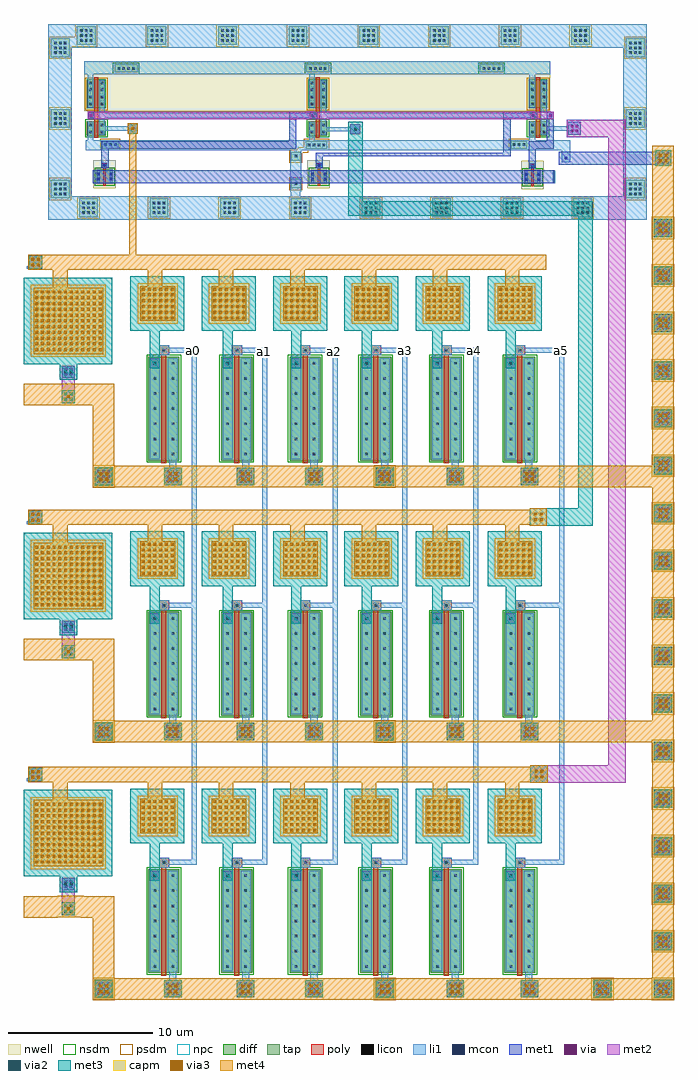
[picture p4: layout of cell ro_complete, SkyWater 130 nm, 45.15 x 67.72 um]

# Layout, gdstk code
import gdstk
lib = gdstk.Library(unit=1e-6, precision=1e-09)
def R(c, l, rs):  # rectangles x0, y0, x1, y1
    for r in rs: c.add(gdstk.rectangle(r[:2], r[2:], *l))
def A(c, l, x, y, w, h, nx, ny, dx, dy):  # array of equal rectangles
    R(c, l, [(x+i*dx, y+j*dy, x+i*dx+w, y+j*dy+h) for i in range(nx) for j in range(ny)])
nwell = (64, 20)
diff = (65, 20)
tap = (65, 44)
poly = (66, 20)
licon = (66, 44)
li1 = (67, 20)
mcon = (67, 44)
met1 = (68, 20)
via = (68, 44)
met2 = (69, 20)
via2 = (69, 44)
met3 = (70, 20)
via3 = (70, 44)
met4 = (71, 20)
capm = (89, 44)
nsdm = (93, 44)
psdm = (94, 20)
npc = (95, 20)

switch = lib.new_cell('switch')
R(switch, diff, [(-0.95,0,1.2,7.2)])
R(switch, poly, [(-0.05,-0.2,0.3,7.3), (-0.2,7.3,0.5,8)])
A(switch, licon, -0.585, 0.365, 0.17, 0.17, 1, 7, 0, 1.05)
A(switch, licon, 0.665, 0.365, 0.17, 0.17, 1, 7, 0, 1.05)
R(switch, licon, [(0.065,7.565,0.235,7.735)])
R(switch, li1, [(-0.85,0.1,-0.15,7.1), (0.4,0.1,1.1,7.1), (-0.2,7.3,0.5,8)])
R(switch, nsdm, [(-1.075,-0.125,1.325,7.325)])
R(switch, npc, [(-0.035,7.465,0.335,7.835)])
switch.add(gdstk.Label('vcont', (0.1,7.95), layer=67, texttype=5))
switch.add(gdstk.Label('vin', (-0.75,7.05), layer=67, texttype=5))
switch.add(gdstk.Label('vout', (1.05,7.05), layer=67, texttype=5))

cbank = lib.new_cell('cbank')
A(cbank, diff, 18.4, -0.15, 0.7, 0.7, 3, 1, 4.9, 0)
R(cbank, diff, [(8.6,-0.15,9.3,0.55), (13.65,-0.15,14.35,0.55), (33.3,-0.15,34,0.55)])
R(cbank, tap, [(4.75,-8.3,6.05,-7), (24.25,-8.3,25.55,-7)])
A(cbank, licon, 4.975, -8.075, 0.17, 0.17, 3, 3, 0.34, 0.34)
A(cbank, licon, 24.475, -8.075, 0.17, 0.17, 3, 3, 0.34, 0.34)
A(cbank, licon, 18.665, 0.125, 0.17, 0.17, 3, 1, 4.9, 0)
R(cbank, licon, [(13.915,0.125,14.085,0.295), (33.565,0.125,33.735,0.295)])
A(cbank, li1, 19.4, -8.25, 1.2, 1.2, 3, 1, 4.9, 0)
A(cbank, li1, 19.75, -7.05, 0.5, 0.65, 3, 1, 4.9, 0)
A(cbank, li1, 18.4, -0.15, 0.7, 0.7, 3, 1, 4.9, 0)
A(cbank, li1, 19.75, 0.95, 0.05, 0.35, 3, 1, 4.9, 0)
R(cbank, li1, [(4.8,-8.25,6,-7.05), (9.6,-8.25,10.8,-7.05), (14.65,-8.25,15.85,-7.05), (34.35,-8.25,35.55,-7.05), (9.95,-7.05,10.45,-6.35), (15,-7.05,15.5,-6.4), (34.65,-7.05,35.15,-6.4), (2.5,-0.8,3.4,0.05), (8.6,-0.15,9.3,0.55), (13.65,-0.15,14.35,0.55), (33.3,-0.15,34,0.55), (9.95,0.95,10,1.3), (15,0.95,15.05,1.3), (34.65,0.95,34.7,1.3), (0.05,6.75,1.15,6.95), (0.2,6.95,1.15,7.7)])
A(cbank, mcon, 4.955, -8.095, 0.17, 0.17, 3, 3, 0.36, 0.36)
A(cbank, mcon, 9.755, -8.095, 0.17, 0.17, 3, 3, 0.36, 0.36)
A(cbank, mcon, 14.805, -8.095, 0.17, 0.17, 3, 3, 0.36, 0.36)
A(cbank, mcon, 19.555, -8.095, 0.17, 0.17, 3, 3, 0.36, 0.36)
A(cbank, mcon, 24.455, -8.095, 0.17, 0.17, 3, 3, 0.36, 0.36)
A(cbank, mcon, 29.355, -8.095, 0.17, 0.17, 3, 3, 0.36, 0.36)
A(cbank, mcon, 34.505, -8.095, 0.17, 0.17, 3, 3, 0.36, 0.36)
A(cbank, mcon, 18.665, 0.115, 0.17, 0.17, 3, 1, 4.9, 0)
R(cbank, mcon, [(2.685,-0.64,2.855,-0.47), (3.045,-0.64,3.215,-0.47), (2.685,-0.28,2.855,-0.11), (3.045,-0.28,3.215,-0.11), (8.865,0.115,9.035,0.285), (13.915,0.115,14.085,0.285), (33.565,0.115,33.735,0.285), (0.41,6.96,0.58,7.13), (0.77,6.96,0.94,7.13), (0.41,7.32,0.58,7.49), (0.77,7.32,0.94,7.49)])
A(cbank, met1, 19.4, -8.25, 1.2, 1.2, 3, 1, 4.9, 0)
A(cbank, met1, 18.4, -0.15, 0.7, 0.7, 3, 1, 4.9, 0)
R(cbank, met1, [(4.8,-8.25,6,-7.05), (9.6,-8.25,10.8,-7.05), (14.65,-8.25,15.85,-7.05), (34.35,-8.25,35.55,-7.05), (2.5,-0.8,3.4,0.05), (8.6,-0.15,9.3,0.55), (13.65,-0.15,14.35,0.55), (33.3,-0.15,34,0.55), (0.2,6.75,1.15,7.7)])
A(cbank, via, 5.005, -8.045, 0.15, 0.15, 3, 3, 0.32, 0.32)
A(cbank, via, 9.805, -8.045, 0.15, 0.15, 3, 3, 0.32, 0.32)
A(cbank, via, 14.855, -8.045, 0.15, 0.15, 3, 3, 0.32, 0.32)
A(cbank, via, 19.605, -8.045, 0.15, 0.15, 3, 3, 0.32, 0.32)
A(cbank, via, 24.505, -8.045, 0.15, 0.15, 3, 3, 0.32, 0.32)
A(cbank, via, 29.405, -8.045, 0.15, 0.15, 3, 3, 0.32, 0.32)
A(cbank, via, 34.555, -8.045, 0.15, 0.15, 3, 3, 0.32, 0.32)
A(cbank, via, 18.675, 0.125, 0.15, 0.15, 3, 1, 4.9, 0)
R(cbank, via, [(2.715,-0.61,2.865,-0.46), (3.035,-0.61,3.185,-0.46), (2.715,-0.29,2.865,-0.14), (3.035,-0.29,3.185,-0.14), (8.875,0.125,9.025,0.275), (13.925,0.125,14.075,0.275), (33.575,0.125,33.725,0.275), (0.44,6.99,0.59,7.14), (0.76,6.99,0.91,7.14), (0.44,7.31,0.59,7.46), (0.76,7.31,0.91,7.46)])
A(cbank, met2, 19.4, -8.25, 1.2, 1.2, 3, 1, 4.9, 0)
A(cbank, met2, 18.4, -0.15, 0.7, 0.7, 3, 1, 4.9, 0)
R(cbank, met2, [(4.8,-8.25,6,-7.05), (9.6,-8.25,10.8,-7.05), (14.65,-8.25,15.85,-7.05), (34.35,-8.25,35.55,-7.05), (2.5,-2.55,3.4,0.05), (8.6,-0.15,9.3,0.55), (13.65,-0.15,14.35,0.55), (33.3,-0.15,34,0.55), (0.2,6.75,1.15,7.7)])
A(cbank, via2, 18.65, 0.1, 0.2, 0.2, 3, 1, 4.9, 0)
R(cbank, via2, [(5.1,-7.95,5.3,-7.75), (5.5,-7.95,5.7,-7.75), (9.9,-7.95,10.1,-7.75), (10.3,-7.95,10.5,-7.75), (14.95,-7.95,15.15,-7.75), (15.35,-7.95,15.55,-7.75), (19.7,-7.95,19.9,-7.75), (20.1,-7.95,20.3,-7.75), (24.6,-7.95,24.8,-7.75), (25,-7.95,25.2,-7.75), (29.5,-7.95,29.7,-7.75), (29.9,-7.95,30.1,-7.75), (34.65,-7.95,34.85,-7.75), (35.05,-7.95,35.25,-7.75), (5.1,-7.55,5.3,-7.35), (5.5,-7.55,5.7,-7.35), (9.9,-7.55,10.1,-7.35), (10.3,-7.55,10.5,-7.35), (14.95,-7.55,15.15,-7.35), (15.35,-7.55,15.55,-7.35), (19.7,-7.55,19.9,-7.35), (20.1,-7.55,20.3,-7.35), (24.6,-7.55,24.8,-7.35), (25,-7.55,25.2,-7.35), (29.5,-7.55,29.7,-7.35), (29.9,-7.55,30.1,-7.35), (34.65,-7.55,34.85,-7.35), (35.05,-7.55,35.25,-7.35), (2.65,-2.4,2.85,-2.2), (3.05,-2.4,3.25,-2.2), (2.65,-2,2.85,-1.8), (3.05,-2,3.25,-1.8), (2.65,-0.475,2.85,-0.275), (3.05,-0.475,3.25,-0.275), (8.85,0.1,9.05,0.3), (13.9,0.1,14.1,0.3), (33.55,0.1,33.75,0.3), (0.375,6.925,0.575,7.125), (0.775,6.925,0.975,7.125), (0.375,7.325,0.575,7.525), (0.775,7.325,0.975,7.525)])
A(cbank, met3, 19.4, -8.25, 1.2, 1.2, 3, 1, 4.9, 0)
A(cbank, met3, 18.4, -0.15, 0.7, 2.6, 3, 1, 4.9, 0)
A(cbank, met3, 7.25, 2.45, 3.75, 3.8, 5, 1, 4.95, 0)
R(cbank, met3, [(4.8,-8.25,6,-7.05), (9.6,-8.25,10.8,-7.05), (14.65,-8.25,15.85,-7.05), (34.35,-8.25,35.55,-7.05), (2.5,-2.55,3.4,-1.65), (2.35,-0.95,3.55,0.15), (8.6,-0.15,9.3,2.45), (13.65,-0.15,14.35,2.45), (33.3,-0.15,34,2.45), (-0.15,0.15,6,6.15), (32.05,2.45,35.8,6.25), (0.2,6.75,1.15,7.7)])
A(cbank, via3, 0.65, 1.05, 0.2, 0.2, 12, 11, 0.4, 0.4)
A(cbank, via3, 8.05, 3.25, 0.2, 0.2, 6, 6, 0.4, 0.4)
A(cbank, via3, 13, 3.25, 0.2, 0.2, 6, 6, 0.4, 0.4)
A(cbank, via3, 17.95, 3.25, 0.2, 0.2, 6, 6, 0.4, 0.4)
A(cbank, via3, 22.9, 3.25, 0.2, 0.2, 6, 6, 0.4, 0.4)
A(cbank, via3, 27.85, 3.25, 0.2, 0.2, 6, 6, 0.4, 0.4)
A(cbank, via3, 32.85, 3.25, 0.2, 0.2, 6, 6, 0.4, 0.4)
R(cbank, via3, [(5.1,-7.95,5.3,-7.75), (5.5,-7.95,5.7,-7.75), (9.9,-7.95,10.1,-7.75), (10.3,-7.95,10.5,-7.75), (14.95,-7.95,15.15,-7.75), (15.35,-7.95,15.55,-7.75), (19.7,-7.95,19.9,-7.75), (20.1,-7.95,20.3,-7.75), (24.6,-7.95,24.8,-7.75), (25,-7.95,25.2,-7.75), (29.5,-7.95,29.7,-7.75), (29.9,-7.95,30.1,-7.75), (34.65,-7.95,34.85,-7.75), (35.05,-7.95,35.25,-7.75), (5.1,-7.55,5.3,-7.35), (5.5,-7.55,5.7,-7.35), (9.9,-7.55,10.1,-7.35), (10.3,-7.55,10.5,-7.35), (14.95,-7.55,15.15,-7.35), (15.35,-7.55,15.55,-7.35), (19.7,-7.55,19.9,-7.35), (20.1,-7.55,20.3,-7.35), (24.6,-7.55,24.8,-7.35), (25,-7.55,25.2,-7.35), (29.5,-7.55,29.7,-7.35), (29.9,-7.55,30.1,-7.35), (34.65,-7.55,34.85,-7.35), (35.05,-7.55,35.25,-7.35), (2.85,-2.2,3.05,-2), (0.375,6.925,0.575,7.125), (0.775,6.925,0.975,7.125), (0.375,7.325,0.575,7.525), (0.775,7.325,0.975,7.525)])
A(cbank, met4, 7.945, 3.145, 2.41, 2.41, 5, 1, 4.95, 0)
A(cbank, met4, 8.45, 5.555, 1, 1.145, 5, 1, 4.95, 0)
R(cbank, met4, [(4.65,-8.4,40.75,-6.9), (4.65,-6.9,6.15,-2.71), (-0.15,-2.71,2.2,-2.7), (3.8,-2.71,6.15,-2.7), (-0.15,-2.7,6.15,-1.21), (2.2,-1.21,4,-1.2), (0.545,0.845,5.355,5.455), (32.745,3.145,35.155,5.555), (1.85,5.455,2.9,6.7), (33.25,5.555,34.25,6.7), (0.15,6.7,36.1,7.75)])
A(cbank, capm, 7.75, 2.95, 2.8, 2.8, 5, 1, 4.95, 0)
R(cbank, capm, [(0.35,0.65,5.55,5.65), (32.55,2.95,35.35,5.75)])
A(cbank, nsdm, 18.275, -0.275, 0.95, 0.95, 3, 1, 4.9, 0)
R(cbank, nsdm, [(8.475,-0.275,9.425,0.675), (13.525,-0.275,14.475,0.675), (33.175,-0.275,34.125,0.675)])
R(cbank, psdm, [(4.625,-8.425,6.175,-6.875), (24.125,-8.425,25.675,-6.875)])
cbank.add(gdstk.Reference(switch, (9.45,-6.54)))
cbank.add(gdstk.Reference(switch, (14.5,-6.54)))
cbank.add(gdstk.Reference(switch, (19.25,-6.54)))
cbank.add(gdstk.Reference(switch, (24.15,-6.54)))
cbank.add(gdstk.Reference(switch, (29.05,-6.54)))
cbank.add(gdstk.Reference(switch, (34.15,-6.54)))
cbank.add(gdstk.Label('v', (0.1,6.8), layer=67, texttype=5))
cbank.add(gdstk.Label('a0', (10,1.1), layer=67, texttype=5))
cbank.add(gdstk.Label('a1', (15.05,1.1), layer=67, texttype=5))
cbank.add(gdstk.Label('a2', (19.8,1.05), layer=67, texttype=5))
cbank.add(gdstk.Label('gnd!', (24.752,-6.85), layer=67, texttype=5))
cbank.add(gdstk.Label('a3', (24.7,1.05), layer=67, texttype=5))
cbank.add(gdstk.Label('a4', (29.6,1), layer=67, texttype=5))
cbank.add(gdstk.Label('a5', (34.7,1), layer=67, texttype=5))

ro_var_extend = lib.new_cell('ro_var_extend')
R(ro_var_extend, nwell, [(29.1,-3.8,30.65,-1.85), (14.29,-3.76,15.8,-3.75), (-0.6,-3.75,0.95,-1.8), (14.25,-3.75,15.8,-1.8), (-1.25,1.6,31.1,5.05)])
R(ro_var_extend, diff, [(-1.05,-0.1,0.25,0.9), (14.32,-0.1,15.62,0.9), (29.6,-0.1,30.9,0.9), (-1.05,1.8,0.25,3.8), (14.32,1.8,15.62,3.8), (29.6,1.8,30.9,3.8)])
A(ro_var_extend, tap, -1.6, -5.75, 1.3, 1.3, 8, 1, 4.9, 0)
A(ro_var_extend, tap, -3.55, -4.45, 1.3, 1.3, 1, 3, 0, 4.9)
A(ro_var_extend, tap, 36.35, -4.45, 1.3, 1.3, 1, 3, 0, 4.9)
A(ro_var_extend, tap, -1.75, 6.2, 1.3, 1.3, 8, 1, 4.9, 0)
R(ro_var_extend, tap, [(13.12,-3.75,13.77,-3.1), (29.29,-3.47,30.44,-2.47), (14.47,-3.45,15.62,-2.45), (-0.4,-3.44,0.75,-2.44), (13.12,-1.85,13.77,-1.2), (0,-1,1.15,-0.45), (14.12,-1,15.62,-0.45), (28.35,-1,29.5,-0.45), (0.87,4.3,2.47,4.85), (14.17,4.3,15.77,4.85), (26.22,4.3,27.82,4.85)])
R(ro_var_extend, poly, [(29.775,-3.6,29.955,-2.36), (14.955,-3.58,15.135,-2.34), (0.085,-3.57,0.265,-2.33), (29.7,-2.36,30.03,-2.03), (14.88,-2.34,15.21,-2.01), (0.01,-2.33,0.34,-2), (-0.55,-0.25,-0.25,1.1), (14.82,-0.25,15.12,1.1), (30.1,-0.25,30.4,1.1), (-0.95,1.1,-0.25,1.5), (14.42,1.1,15.12,1.5), (29.7,1.1,30.4,1.5), (-0.55,1.5,-0.25,3.95), (14.82,1.5,15.12,3.95), (30.1,1.5,30.4,3.95)])
A(ro_var_extend, licon, -1.375, -5.525, 0.17, 0.17, 3, 3, 0.34, 0.34)
A(ro_var_extend, licon, 3.525, -5.525, 0.17, 0.17, 3, 3, 0.34, 0.34)
A(ro_var_extend, licon, 8.425, -5.525, 0.17, 0.17, 3, 3, 0.34, 0.34)
A(ro_var_extend, licon, 13.325, -5.525, 0.17, 0.17, 3, 3, 0.34, 0.34)
A(ro_var_extend, licon, 18.225, -5.525, 0.17, 0.17, 3, 3, 0.34, 0.34)
A(ro_var_extend, licon, 23.125, -5.525, 0.17, 0.17, 3, 3, 0.34, 0.34)
A(ro_var_extend, licon, 28.025, -5.525, 0.17, 0.17, 3, 3, 0.34, 0.34)
A(ro_var_extend, licon, 32.925, -5.525, 0.17, 0.17, 3, 3, 0.34, 0.34)
A(ro_var_extend, licon, -3.325, -4.225, 0.17, 0.17, 3, 3, 0.34, 0.34)
A(ro_var_extend, licon, 36.575, -4.225, 0.17, 0.17, 3, 3, 0.34, 0.34)
A(ro_var_extend, licon, 14.275, -0.835, 0.17, 0.17, 4, 1, 0.34, 0)
A(ro_var_extend, licon, 0.15, -0.81, 0.17, 0.17, 3, 1, 0.34, 0)
A(ro_var_extend, licon, 28.5, -0.81, 0.17, 0.17, 3, 1, 0.34, 0)
A(ro_var_extend, licon, -3.325, 0.675, 0.17, 0.17, 3, 3, 0.34, 0.34)
A(ro_var_extend, licon, 36.575, 0.675, 0.17, 0.17, 3, 3, 0.34, 0.34)
A(ro_var_extend, licon, -0.885, 2.015, 0.17, 0.17, 1, 3, 0, 0.5)
A(ro_var_extend, licon, -0.085, 2.015, 0.17, 0.17, 1, 3, 0, 0.5)
A(ro_var_extend, licon, 14.475, 2.015, 0.17, 0.17, 1, 3, 0, 0.5)
A(ro_var_extend, licon, 15.275, 2.015, 0.17, 0.17, 1, 3, 0, 0.5)
A(ro_var_extend, licon, 29.775, 2.015, 0.17, 0.17, 1, 3, 0, 0.5)
A(ro_var_extend, licon, 30.575, 2.015, 0.17, 0.17, 1, 3, 0, 0.5)
A(ro_var_extend, licon, 1.075, 4.49, 0.17, 0.17, 4, 1, 0.34, 0)
A(ro_var_extend, licon, 14.375, 4.49, 0.17, 0.17, 4, 1, 0.34, 0)
A(ro_var_extend, licon, 26.425, 4.49, 0.17, 0.17, 4, 1, 0.34, 0)
A(ro_var_extend, licon, -3.325, 5.575, 0.17, 0.17, 3, 3, 0.34, 0.34)
A(ro_var_extend, licon, 36.575, 5.575, 0.17, 0.17, 3, 3, 0.34, 0.34)
A(ro_var_extend, licon, -1.525, 6.425, 0.17, 0.17, 3, 3, 0.34, 0.34)
A(ro_var_extend, licon, 3.375, 6.425, 0.17, 0.17, 3, 3, 0.34, 0.34)
A(ro_var_extend, licon, 8.275, 6.425, 0.17, 0.17, 3, 3, 0.34, 0.34)
A(ro_var_extend, licon, 13.175, 6.425, 0.17, 0.17, 3, 3, 0.34, 0.34)
A(ro_var_extend, licon, 18.075, 6.425, 0.17, 0.17, 3, 3, 0.34, 0.34)
A(ro_var_extend, licon, 22.975, 6.425, 0.17, 0.17, 3, 3, 0.34, 0.34)
A(ro_var_extend, licon, 27.875, 6.425, 0.17, 0.17, 3, 3, 0.34, 0.34)
A(ro_var_extend, licon, 32.775, 6.425, 0.17, 0.17, 3, 3, 0.34, 0.34)
R(ro_var_extend, licon, [(13.36,-3.51,13.53,-3.34), (29.35,-3.225,29.52,-3.055), (30.21,-3.225,30.38,-3.055), (14.53,-3.205,14.7,-3.035), (15.39,-3.205,15.56,-3.035), (-0.34,-3.195,-0.17,-3.025), (0.52,-3.195,0.69,-3.025), (29.35,-2.885,29.52,-2.715), (30.21,-2.885,30.38,-2.715), (14.53,-2.865,14.7,-2.695), (15.39,-2.865,15.56,-2.695), (-0.34,-2.855,-0.17,-2.685), (0.52,-2.855,0.69,-2.685), (29.78,-2.28,29.95,-2.11), (14.96,-2.26,15.13,-2.09), (0.09,-2.25,0.26,-2.08), (13.36,-1.61,13.53,-1.44), (-0.885,0.065,-0.715,0.235), (-0.085,0.065,0.085,0.235), (14.475,0.065,14.645,0.235), (15.275,0.065,15.445,0.235), (29.775,0.065,29.945,0.235), (30.575,0.065,30.745,0.235), (-0.885,0.565,-0.715,0.735), (-0.085,0.565,0.085,0.735), (14.475,0.565,14.645,0.735), (15.275,0.565,15.445,0.735), (29.775,0.565,29.945,0.735), (30.575,0.565,30.745,0.735), (-0.835,1.215,-0.665,1.385), (14.535,1.215,14.705,1.385), (29.815,1.215,29.985,1.385), (-0.885,3.465,-0.715,3.635), (-0.085,3.465,0.085,3.635), (14.475,3.465,14.645,3.635), (15.275,3.465,15.445,3.635), (29.775,3.465,29.945,3.635), (30.575,3.465,30.745,3.635)])
R(ro_var_extend, li1, [(-3.75,-5.95,37.8,-4.3), (-3.75,-4.3,-2.1,6), (13.1,-4.3,13.75,-4), (36.15,-4.3,37.8,6), (13.07,-4,13.82,-1.1), (29.35,-3.43,29.52,-2.51), (30.21,-3.43,30.38,-2.51), (14.53,-3.41,14.7,-2.49), (15.39,-3.41,15.56,-2.49), (-0.34,-3.4,-0.17,-2.48), (0.52,-3.4,0.69,-2.48), (31.28,-3.4,31.45,-2.55), (29.7,-2.28,30.03,-2.11), (14.88,-2.26,15.21,-2.09), (0.01,-2.25,0.34,-2.08), (-1.15,-1.1,31.1,-0.4), (-1,-0.4,-0.6,0.85), (14.37,-0.4,14.77,-0.05), (29.65,-0.4,30.05,-0.05), (-0.2,-0.05,0.2,1.15), (14.36,-0.05,14.77,0.85), (15.16,-0.05,15.57,0.85), (29.65,-0.05,30.06,0.85), (30.45,-0.05,30.86,0.85), (15.17,0.85,15.57,1.15), (30.45,0.85,30.85,1.05), (30.45,1.05,30.95,1.15), (-0.95,1.1,-0.55,1.5), (14.42,1.1,14.82,1.15), (29.7,1.1,30.1,1.15), (-0.2,1.15,14.82,1.45), (15.17,1.15,30.1,1.45), (30.45,1.15,31.25,1.45), (-0.2,1.45,0.2,3.75), (14.42,1.45,14.82,1.5), (15.17,1.45,15.57,1.85), (29.7,1.45,30.1,1.5), (30.45,1.45,30.95,1.55), (30.45,1.55,30.85,1.85), (-1,1.85,-0.6,4.15), (14.36,1.85,14.77,3.75), (15.16,1.85,15.57,3.75), (29.65,1.85,30.06,3.75), (30.45,1.85,30.86,3.75), (14.37,3.75,14.77,4.15), (29.65,3.75,30.05,4.15), (-1.25,4.15,31.1,5.05), (-3.75,6,37.8,7.65)])
R(ro_var_extend, mcon, [(29.35,-3.235,29.52,-3.065), (30.21,-3.235,30.38,-3.065), (14.53,-3.215,14.7,-3.045), (15.39,-3.215,15.56,-3.045), (-0.34,-3.205,-0.17,-3.035), (0.52,-3.205,0.69,-3.035), (29.35,-2.875,29.52,-2.705), (30.21,-2.875,30.38,-2.705), (14.53,-2.855,14.7,-2.685), (15.39,-2.855,15.56,-2.685), (-0.34,-2.845,-0.17,-2.675), (0.52,-2.845,0.69,-2.675), (29.78,-2.28,29.95,-2.11), (14.96,-2.26,15.13,-2.09), (0.09,-2.25,0.26,-2.08), (-0.835,1.215,-0.665,1.385), (14.535,1.215,14.705,1.385), (29.815,1.215,29.985,1.385), (31.015,1.215,31.185,1.385)])
R(ro_var_extend, met1, [(29.32,-3.41,29.55,-3.4), (30.18,-3.41,30.41,-3.4), (-0.65,-3.4,31.38,-2.5), (-0.05,-2.35,0.45,-1), (14.82,-2.35,15.32,-1.54), (29.6,-2.35,30.1,-1), (14.82,-1.54,28.35,-1.3), (27.85,-1.3,28.35,1.05), (-0.05,-1,13.47,-0.5), (29.6,-1,31.35,-0.5), (12.97,-0.5,13.47,1.05), (30.85,-0.5,31.35,-0.05), (30.86,-0.05,31.35,0.85), (30.85,0.85,31.35,1.55), (-1,1.05,-0.55,1.55), (12.97,1.05,14.92,1.55), (27.85,1.05,30.2,1.55)])
R(ro_var_extend, via, [(-0.825,1.225,-0.675,1.375), (31.025,1.225,31.175,1.375)])
R(ro_var_extend, met2, [(-1,1.05,31.35,1.55)])
R(ro_var_extend, nsdm, [(29.165,-3.595,30.565,-2.345), (14.345,-3.575,15.745,-2.325), (-0.525,-3.565,0.875,-2.315), (-1.175,-0.225,0.375,1.025), (14.195,-0.225,15.745,1.025), (29.475,-0.225,31.025,1.025), (0.745,4.175,2.595,4.975), (14.045,4.175,15.895,4.975), (26.095,4.175,27.945,4.975)])
A(ro_var_extend, psdm, -1.725, -5.875, 1.55, 1.55, 8, 1, 4.9, 0)
A(ro_var_extend, psdm, 36.225, -4.575, 1.55, 1.55, 1, 3, 0, 4.9)
A(ro_var_extend, psdm, 3.025, 6.075, 1.55, 1.55, 7, 1, 4.9, 0)
R(ro_var_extend, psdm, [(-3.675,-4.575,-2.125,-3.025), (12.995,-3.875,13.895,-2.975), (12.995,-1.975,13.895,-1.29), (12.995,-1.29,14.31,-1.125), (-0.125,-1.125,1.275,-0.325), (12.995,-1.125,15.745,-1.075), (28.225,-1.125,29.625,-0.325), (13.58,-1.075,15.745,-0.91), (13.995,-0.91,15.745,-0.325), (-3.675,0.325,-2.125,1.875), (-1.175,1.675,0.375,3.925), (14.195,1.675,15.745,3.925), (29.475,1.675,31.025,3.925), (-3.675,5.225,-2.125,6.075), (-3.675,6.075,-0.325,6.775), (-1.875,6.775,-0.325,7.625)])
R(ro_var_extend, npc, [(29.68,-2.38,30.05,-2.01), (14.86,-2.36,15.23,-1.99), (-0.01,-2.35,0.36,-1.98), (-0.935,1.115,-0.565,1.485), (14.435,1.115,14.805,1.485), (29.715,1.115,30.085,1.485)])
ro_var_extend.add(gdstk.Label('out1', (0.05,1), layer=67, texttype=5))
ro_var_extend.add(gdstk.Label('out2', (15.37,0.95), layer=67, texttype=5))
ro_var_extend.add(gdstk.Label('gnd', (29.9,-0.8), layer=67, texttype=5))
ro_var_extend.add(gdstk.Label('out3', (31.1,1.3), layer=68, texttype=5))
ro_var_extend.add(gdstk.Label('out3', (30.65,0.95), layer=67, texttype=5))
ro_var_extend.add(gdstk.Label('vcont', (31.43,-3.05), layer=67, texttype=5))
ro_var_extend.add(gdstk.Label('vdd', (30.1,4.5), layer=67, texttype=5))

ro_complete = lib.new_cell('ro_complete')
A(ro_complete, tap, 43.15, -53.2, 1.3, 1.3, 1, 17, 0, 3.3)
R(ro_complete, tap, [(38.95,-53.2,40.25,-51.9)])
A(ro_complete, licon, 39.175, -52.975, 0.17, 0.17, 3, 3, 0.34, 0.34)
A(ro_complete, licon, 43.375, -52.975, 0.17, 0.17, 3, 3, 0.34, 0.34)
A(ro_complete, licon, 43.375, -49.675, 0.17, 0.17, 3, 3, 0.34, 0.34)
A(ro_complete, licon, 43.375, -46.375, 0.17, 0.17, 3, 3, 0.34, 0.34)
A(ro_complete, licon, 43.375, -43.075, 0.17, 0.17, 3, 3, 0.34, 0.34)
A(ro_complete, licon, 43.375, -39.775, 0.17, 0.17, 3, 3, 0.34, 0.34)
A(ro_complete, licon, 43.375, -36.475, 0.17, 0.17, 3, 3, 0.34, 0.34)
A(ro_complete, licon, 43.375, -33.175, 0.17, 0.17, 3, 3, 0.34, 0.34)
A(ro_complete, licon, 43.375, -29.875, 0.17, 0.17, 3, 3, 0.34, 0.34)
A(ro_complete, licon, 43.375, -26.575, 0.17, 0.17, 3, 3, 0.34, 0.34)
A(ro_complete, licon, 43.375, -23.275, 0.17, 0.17, 3, 3, 0.34, 0.34)
A(ro_complete, licon, 43.375, -19.975, 0.17, 0.17, 3, 3, 0.34, 0.34)
A(ro_complete, licon, 43.375, -16.675, 0.17, 0.17, 3, 3, 0.34, 0.34)
A(ro_complete, licon, 43.375, -13.375, 0.17, 0.17, 3, 3, 0.34, 0.34)
A(ro_complete, licon, 43.375, -10.075, 0.17, 0.17, 3, 3, 0.34, 0.34)
A(ro_complete, licon, 43.375, -6.775, 0.17, 0.17, 3, 3, 0.34, 0.34)
A(ro_complete, licon, 43.375, -3.475, 0.17, 0.17, 3, 3, 0.34, 0.34)
A(ro_complete, licon, 43.375, -0.175, 0.17, 0.17, 3, 3, 0.34, 0.34)
A(ro_complete, li1, 43.2, -53.15, 1.2, 1.2, 1, 17, 0, 3.3)
A(ro_complete, li1, 11.08, -43.6, 0.35, 17.5, 3, 1, 4.89, 0)
A(ro_complete, li1, 11.08, -25.75, 0.35, 17.35, 3, 1, 4.89, 0)
R(ro_complete, li1, [(39,-53.15,40.2,-51.95), (9.58,-43.95,11.43,-43.6), (14.62,-43.95,16.32,-43.6), (19.36,-43.95,21.21,-43.6), (24.26,-43.95,26.06,-43.6), (29.17,-43.95,30.97,-43.6), (34.28,-43.95,36.93,-43.6), (25.71,-43.6,26.06,-26.1), (30.62,-43.6,30.97,-26.1), (36.58,-43.6,36.93,-26.1), (9.58,-26.1,11.43,-25.75), (14.62,-26.1,16.32,-25.75), (19.36,-26.1,21.21,-25.75), (24.26,-26.1,26.06,-25.75), (29.17,-26.1,30.97,-25.75), (34.28,-26.1,36.93,-25.75), (25.71,-25.75,26.06,-8.4), (30.62,-25.75,30.97,-8.4), (36.58,-25.75,36.93,-8.4), (9.58,-8.4,11.43,-8.05), (14.62,-8.4,16.32,-8.05), (19.36,-8.4,21.21,-8.05), (24.26,-8.4,26.06,-8.05), (29.17,-8.4,30.97,-8.05), (34.28,-8.4,36.93,-8.05), (36.75,4.8,37.35,5.65), (35.95,5.65,37.35,6.35), (37.2,6.7,38.1,7), (22.1,6.75,22.8,6.95), (6.65,6.8,7.35,7), (20.4,6.95,22.8,7.25), (5.05,7,7.35,7.3), (35.7,7,38.1,7.3), (22.1,7.25,22.8,7.45), (6.65,7.3,7.35,7.5), (37.2,7.3,38.1,7.6)])
A(ro_complete, mcon, 39.155, -52.995, 0.17, 0.17, 3, 3, 0.36, 0.36)
A(ro_complete, mcon, 43.355, -52.995, 0.17, 0.17, 3, 3, 0.36, 0.36)
A(ro_complete, mcon, 43.355, -49.695, 0.17, 0.17, 3, 3, 0.36, 0.36)
A(ro_complete, mcon, 43.355, -46.395, 0.17, 0.17, 3, 3, 0.36, 0.36)
A(ro_complete, mcon, 43.355, -43.095, 0.17, 0.17, 3, 3, 0.36, 0.36)
A(ro_complete, mcon, 43.355, -39.795, 0.17, 0.17, 3, 3, 0.36, 0.36)
A(ro_complete, mcon, 43.355, -36.495, 0.17, 0.17, 3, 3, 0.36, 0.36)
A(ro_complete, mcon, 43.355, -33.195, 0.17, 0.17, 3, 3, 0.36, 0.36)
A(ro_complete, mcon, 43.355, -29.895, 0.17, 0.17, 3, 3, 0.36, 0.36)
A(ro_complete, mcon, 43.355, -26.595, 0.17, 0.17, 3, 3, 0.36, 0.36)
A(ro_complete, mcon, 43.355, -23.295, 0.17, 0.17, 3, 3, 0.36, 0.36)
A(ro_complete, mcon, 43.355, -19.995, 0.17, 0.17, 3, 3, 0.36, 0.36)
A(ro_complete, mcon, 43.355, -16.695, 0.17, 0.17, 3, 3, 0.36, 0.36)
A(ro_complete, mcon, 43.355, -13.395, 0.17, 0.17, 3, 3, 0.36, 0.36)
A(ro_complete, mcon, 43.355, -10.095, 0.17, 0.17, 3, 3, 0.36, 0.36)
A(ro_complete, mcon, 43.355, -6.795, 0.17, 0.17, 3, 3, 0.36, 0.36)
A(ro_complete, mcon, 43.355, -3.495, 0.17, 0.17, 3, 3, 0.36, 0.36)
A(ro_complete, mcon, 43.355, -0.195, 0.17, 0.17, 3, 3, 0.36, 0.36)
R(ro_complete, mcon, [(36.965,5.015,37.135,5.185), (37.385,6.885,37.555,7.055), (37.745,6.885,37.915,7.055), (22.365,7.015,22.535,7.185), (6.915,7.065,7.085,7.235), (37.385,7.245,37.555,7.415), (37.745,7.245,37.915,7.415)])
A(ro_complete, met1, 43.2, -53.15, 1.2, 1.2, 1, 17, 0, 3.3)
R(ro_complete, met1, [(39,-53.15,40.2,-51.95), (43.25,4.55,44.35,4.65), (36.55,4.65,44.35,5.55), (43.25,5.55,44.35,5.65), (37.2,6.7,38.1,7.6), (22.1,6.75,22.8,7.45), (6.65,6.8,7.35,7.5)])
A(ro_complete, via, 39.205, -52.945, 0.15, 0.15, 3, 3, 0.32, 0.32)
A(ro_complete, via, 43.405, -52.945, 0.15, 0.15, 3, 3, 0.32, 0.32)
A(ro_complete, via, 43.405, -49.645, 0.15, 0.15, 3, 3, 0.32, 0.32)
A(ro_complete, via, 43.405, -46.345, 0.15, 0.15, 3, 3, 0.32, 0.32)
A(ro_complete, via, 43.405, -43.045, 0.15, 0.15, 3, 3, 0.32, 0.32)
A(ro_complete, via, 43.405, -39.745, 0.15, 0.15, 3, 3, 0.32, 0.32)
A(ro_complete, via, 43.405, -36.445, 0.15, 0.15, 3, 3, 0.32, 0.32)
A(ro_complete, via, 43.405, -33.145, 0.15, 0.15, 3, 3, 0.32, 0.32)
A(ro_complete, via, 43.405, -29.845, 0.15, 0.15, 3, 3, 0.32, 0.32)
A(ro_complete, via, 43.405, -26.545, 0.15, 0.15, 3, 3, 0.32, 0.32)
A(ro_complete, via, 43.405, -23.245, 0.15, 0.15, 3, 3, 0.32, 0.32)
A(ro_complete, via, 43.405, -19.945, 0.15, 0.15, 3, 3, 0.32, 0.32)
A(ro_complete, via, 43.405, -16.645, 0.15, 0.15, 3, 3, 0.32, 0.32)
A(ro_complete, via, 43.405, -13.345, 0.15, 0.15, 3, 3, 0.32, 0.32)
A(ro_complete, via, 43.405, -10.045, 0.15, 0.15, 3, 3, 0.32, 0.32)
A(ro_complete, via, 43.405, -6.745, 0.15, 0.15, 3, 3, 0.32, 0.32)
A(ro_complete, via, 43.405, -3.445, 0.15, 0.15, 3, 3, 0.32, 0.32)
A(ro_complete, via, 43.405, -0.145, 0.15, 0.15, 3, 3, 0.32, 0.32)
A(ro_complete, via, 43.405, 4.705, 0.15, 0.15, 3, 3, 0.32, 0.32)
R(ro_complete, via, [(37.415,6.915,37.565,7.065), (37.735,6.915,37.885,7.065), (22.375,7.025,22.525,7.175), (6.925,7.075,7.075,7.225), (37.415,7.235,37.565,7.385), (37.735,7.235,37.885,7.385)])
A(ro_complete, met2, 43.2, -53.15, 1.2, 1.2, 1, 17, 0, 3.3)
R(ro_complete, met2, [(39,-53.15,40.2,-51.95), (34.58,-38.25,41.2,-37.05), (40,-37.05,41.2,6.55), (43.25,4.55,44.35,5.65), (37.1,6.55,41.2,7.75), (22.1,6.75,22.8,7.45), (6.65,6.8,7.35,7.5)])
R(ro_complete, via2, [(39.3,-52.85,39.5,-52.65), (39.7,-52.85,39.9,-52.65), (43.5,-52.85,43.7,-52.65), (43.9,-52.85,44.1,-52.65), (39.3,-52.45,39.5,-52.25), (39.7,-52.45,39.9,-52.25), (43.5,-52.45,43.7,-52.25), (43.9,-52.45,44.1,-52.25), (43.5,-49.55,43.7,-49.35), (43.9,-49.55,44.1,-49.35), (43.5,-49.15,43.7,-48.95), (43.9,-49.15,44.1,-48.95), (43.5,-46.25,43.7,-46.05), (43.9,-46.25,44.1,-46.05), (43.5,-45.85,43.7,-45.65), (43.9,-45.85,44.1,-45.65), (43.5,-42.95,43.7,-42.75), (43.9,-42.95,44.1,-42.75), (43.5,-42.55,43.7,-42.35), (43.9,-42.55,44.1,-42.35), (43.5,-39.65,43.7,-39.45), (43.9,-39.65,44.1,-39.45), (43.5,-39.25,43.7,-39.05), (43.9,-39.25,44.1,-39.05), (34.88,-37.95,35.08,-37.75), (35.28,-37.95,35.48,-37.75), (34.88,-37.55,35.08,-37.35), (35.28,-37.55,35.48,-37.35), (43.5,-36.35,43.7,-36.15), (43.9,-36.35,44.1,-36.15), (43.5,-35.95,43.7,-35.75), (43.9,-35.95,44.1,-35.75), (43.5,-33.05,43.7,-32.85), (43.9,-33.05,44.1,-32.85), (43.5,-32.65,43.7,-32.45), (43.9,-32.65,44.1,-32.45), (43.5,-29.75,43.7,-29.55), (43.9,-29.75,44.1,-29.55), (43.5,-29.35,43.7,-29.15), (43.9,-29.35,44.1,-29.15), (43.5,-26.45,43.7,-26.25), (43.9,-26.45,44.1,-26.25), (43.5,-26.05,43.7,-25.85), (43.9,-26.05,44.1,-25.85), (43.5,-23.15,43.7,-22.95), (43.9,-23.15,44.1,-22.95), (43.5,-22.75,43.7,-22.55), (43.9,-22.75,44.1,-22.55), (43.5,-19.85,43.7,-19.65), (43.9,-19.85,44.1,-19.65), (43.5,-19.45,43.7,-19.25), (43.9,-19.45,44.1,-19.25), (43.5,-16.55,43.7,-16.35), (43.9,-16.55,44.1,-16.35), (43.5,-16.15,43.7,-15.95), (43.9,-16.15,44.1,-15.95), (43.5,-13.25,43.7,-13.05), (43.9,-13.25,44.1,-13.05), (43.5,-12.85,43.7,-12.65), (43.9,-12.85,44.1,-12.65), (43.5,-9.95,43.7,-9.75), (43.9,-9.95,44.1,-9.75), (43.5,-9.55,43.7,-9.35), (43.9,-9.55,44.1,-9.35), (43.5,-6.65,43.7,-6.45), (43.9,-6.65,44.1,-6.45), (43.5,-6.25,43.7,-6.05), (43.9,-6.25,44.1,-6.05), (43.5,-3.35,43.7,-3.15), (43.9,-3.35,44.1,-3.15), (43.5,-2.95,43.7,-2.75), (43.9,-2.95,44.1,-2.75), (43.5,-0.05,43.7,0.15), (43.9,-0.05,44.1,0.15), (43.5,0.35,43.7,0.55), (43.9,0.35,44.1,0.55), (43.5,4.8,43.7,5), (43.9,4.8,44.1,5), (43.5,5.2,43.7,5.4), (43.9,5.2,44.1,5.4), (22.35,7,22.55,7.2), (6.9,7.05,7.1,7.25)])
A(ro_complete, met3, 43.2, -53.15, 1.2, 1.2, 1, 17, 0, 3.3)
R(ro_complete, met3, [(39,-53.15,40.2,-51.95), (34.58,-38.25,35.78,-37.05), (34.53,-20.4,38.9,-19.2), (37.9,-19.2,38.9,1.1), (21.95,1.1,38.9,2.1), (21.95,2.1,22.95,7.6), (43.25,4.55,44.35,5.65), (6.65,6.8,7.35,7.5)])
R(ro_complete, via3, [(39.3,-52.85,39.5,-52.65), (39.7,-52.85,39.9,-52.65), (43.5,-52.85,43.7,-52.65), (43.9,-52.85,44.1,-52.65), (39.3,-52.45,39.5,-52.25), (39.7,-52.45,39.9,-52.25), (43.5,-52.45,43.7,-52.25), (43.9,-52.45,44.1,-52.25), (43.5,-49.55,43.7,-49.35), (43.9,-49.55,44.1,-49.35), (43.5,-49.15,43.7,-48.95), (43.9,-49.15,44.1,-48.95), (43.5,-46.25,43.7,-46.05), (43.9,-46.25,44.1,-46.05), (43.5,-45.85,43.7,-45.65), (43.9,-45.85,44.1,-45.65), (43.5,-42.95,43.7,-42.75), (43.9,-42.95,44.1,-42.75), (43.5,-42.55,43.7,-42.35), (43.9,-42.55,44.1,-42.35), (43.5,-39.65,43.7,-39.45), (43.9,-39.65,44.1,-39.45), (43.5,-39.25,43.7,-39.05), (43.9,-39.25,44.1,-39.05), (34.88,-37.95,35.08,-37.75), (35.28,-37.95,35.48,-37.75), (34.88,-37.55,35.08,-37.35), (35.28,-37.55,35.48,-37.35), (43.5,-36.35,43.7,-36.15), (43.9,-36.35,44.1,-36.15), (43.5,-35.95,43.7,-35.75), (43.9,-35.95,44.1,-35.75), (43.5,-33.05,43.7,-32.85), (43.9,-33.05,44.1,-32.85), (43.5,-32.65,43.7,-32.45), (43.9,-32.65,44.1,-32.45), (43.5,-29.75,43.7,-29.55), (43.9,-29.75,44.1,-29.55), (43.5,-29.35,43.7,-29.15), (43.9,-29.35,44.1,-29.15), (43.5,-26.45,43.7,-26.25), (43.9,-26.45,44.1,-26.25), (43.5,-26.05,43.7,-25.85), (43.9,-26.05,44.1,-25.85), (43.5,-23.15,43.7,-22.95), (43.9,-23.15,44.1,-22.95), (43.5,-22.75,43.7,-22.55), (43.9,-22.75,44.1,-22.55), (34.83,-20.1,35.03,-19.9), (35.23,-20.1,35.43,-19.9), (43.5,-19.85,43.7,-19.65), (43.9,-19.85,44.1,-19.65), (34.83,-19.7,35.03,-19.5), (35.23,-19.7,35.43,-19.5), (43.5,-19.45,43.7,-19.25), (43.9,-19.45,44.1,-19.25), (43.5,-16.55,43.7,-16.35), (43.9,-16.55,44.1,-16.35), (43.5,-16.15,43.7,-15.95), (43.9,-16.15,44.1,-15.95), (43.5,-13.25,43.7,-13.05), (43.9,-13.25,44.1,-13.05), (43.5,-12.85,43.7,-12.65), (43.9,-12.85,44.1,-12.65), (43.5,-9.95,43.7,-9.75), (43.9,-9.95,44.1,-9.75), (43.5,-9.55,43.7,-9.35), (43.9,-9.55,44.1,-9.35), (43.5,-6.65,43.7,-6.45), (43.9,-6.65,44.1,-6.45), (43.5,-6.25,43.7,-6.05), (43.9,-6.25,44.1,-6.05), (43.5,-3.35,43.7,-3.15), (43.9,-3.35,44.1,-3.15), (43.5,-2.95,43.7,-2.75), (43.9,-2.95,44.1,-2.75), (43.5,-0.05,43.7,0.15), (43.9,-0.05,44.1,0.15), (43.5,0.35,43.7,0.55), (43.9,0.35,44.1,0.55), (43.5,4.8,43.7,5), (43.9,4.8,44.1,5), (43.5,5.2,43.7,5.4), (43.9,5.2,44.1,5.4), (6.9,7.05,7.1,7.25)])
R(ro_complete, met4, [(38.85,-53.3,44.55,-51.8), (43.05,-51.8,44.55,-35.45), (34.58,-38.25,35.78,-37.05), (39.5,-35.45,44.55,-33.95), (43.05,-33.95,44.55,-17.75), (34.53,-20.4,35.73,-19.2), (39.65,-17.75,44.55,-16.25), (43.05,-16.25,44.55,5.95), (6.75,-2.05,7.25,6.8), (6.65,6.8,7.35,7.5)])
A(ro_complete, psdm, 43.025, -53.325, 1.55, 1.55, 1, 17, 0, 3.3)
R(ro_complete, psdm, [(38.825,-53.325,40.375,-51.775)])
ro_complete.add(gdstk.Reference(cbank, (-0.42,-27.05)))
ro_complete.add(gdstk.Reference(cbank, (-0.42,-44.9)))
ro_complete.add(gdstk.Reference(cbank, (-0.42,-9.35)))
ro_complete.add(gdstk.Reference(ro_var_extend, (4.87,6.75)))
ro_complete.add(gdstk.Label('a0', (11.23,-8.25), layer=67, texttype=5))
ro_complete.add(gdstk.Label('a1', (16.17,-8.3), layer=67, texttype=5))
ro_complete.add(gdstk.Label('a5', (36.73,-8.25), layer=67, texttype=5))
ro_complete.add(gdstk.Label('a4', (30.72,-8.25), layer=67, texttype=5))
ro_complete.add(gdstk.Label('a3', (25.91,-8.25), layer=67, texttype=5))
ro_complete.add(gdstk.Label('a2', (21.01,-8.35), layer=67, texttype=5))

lib.write_gds('ro_complete.gds')
